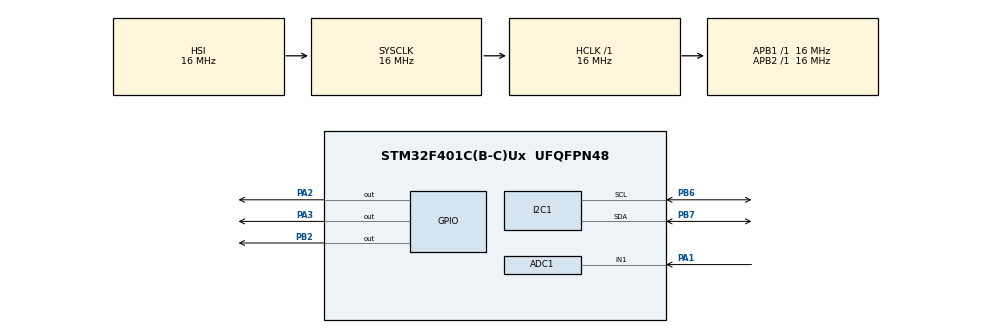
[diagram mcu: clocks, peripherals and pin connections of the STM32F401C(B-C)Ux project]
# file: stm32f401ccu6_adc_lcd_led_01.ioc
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ADC1.Channel-0\#ChannelRegularConversion=ADC_CHANNEL_1
ADC1.NbrOfConversionFlag=1
ADC1.Rank-0\#ChannelRegularConversion=1
ADC1.SamplingTime-0\#ChannelRegularConversion=ADC_SAMPLETIME_3CYCLES
ADC1.master=1
Mcu.Family=STM32F4
Mcu.Name=STM32F401C(B-C)Ux
Mcu.Package=UFQFPN48
NVIC.ADC_IRQn=true\:0\:0\:false\:false\:true\:true\:true\:true
NVIC.PriorityGroup=NVIC_PRIORITYGROUP_4
PA1.Signal=ADCx_IN1
PA13.Mode=Serial_Wire
PA13.Signal=SYS_JTMS-SWDIO
PA14.Mode=Serial_Wire
PA14.Signal=SYS_JTCK-SWCLK
PA2.Signal=GPIO_Output
PA3.Signal=GPIO_Output
PB2.Signal=GPIO_Output
PB6.Mode=I2C
PB6.Signal=I2C1_SCL
PB7.Mode=I2C
PB7.Signal=I2C1_SDA
ProjectManager.HeapSize=0x200
ProjectManager.StackSize=0x400
ProjectManager.TargetToolchain=STM32CubeIDE
RCC.AHBFreq_Value=16000000
RCC.APB1Freq_Value=16000000
RCC.APB2Freq_Value=16000000
RCC.CortexFreq_Value=16000000
RCC.HSE_VALUE=25000000
RCC.HSI_VALUE=16000000
RCC.LSE_VALUE=32768
RCC.SYSCLKFreq_VALUE=16000000
RCC.VCOOutputFreq_Value=192000000
SH.ADCx_IN1.0=ADC1_IN1,IN1
board=custom

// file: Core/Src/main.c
/* USER CODE BEGIN Header */
/**
  ******************************************************************************
  * @file           : main.c
  * @brief          : Main program body
  ******************************************************************************
  * @attention
  *
  * Copyright (c) 2024 STMicroelectronics.
  * All rights reserved.
  *
  * This software is licensed under terms that can be found in the LICENSE file
  * in the root directory of this software component.
  * If no LICENSE file comes with this software, it is provided AS-IS.
  *
  ******************************************************************************
  */
/* USER CODE END Header */
#include "main.h"

ADC_HandleTypeDef hadc1;

I2C_HandleTypeDef hi2c1;

void SystemClock_Config(void);
static void MX_GPIO_Init(void);
static void MX_ADC1_Init(void);
static void MX_I2C1_Init(void);

int main(void)
{
  /* USER CODE BEGIN 1 */
float u;
uint16_t i = 0;
char str[9];
  /* USER CODE END 1 */

  /* MCU Configuration--------------------------------------------------------*/

  /* Reset of all peripherals, Initializes the Flash interface and the Systick. */
  HAL_Init();

  /* Configure the system clock */
  SystemClock_Config();

  /* Initialize all configured peripherals */
  MX_GPIO_Init();
  MX_ADC1_Init();
  MX_I2C1_Init();
  /* USER CODE BEGIN 2 */
HAL_Delay(100);
lcd1602_Init();
lcd1602_Clean();
lcd1602_SetCursor(0, 0);
  /* USER CODE END 2 */

  /* Infinite loop */
  /* USER CODE BEGIN WHILE */
  while (1)
  {
	  HAL_ADC_Start(&hadc1);// запуск АЦП
	  HAL_ADC_PollForConversion(&hadc1, 100);// дожидаемся окончания преобразования HAL
	  //i = HAL_ADC_GetValue(&hadc1);// получаем значения преобразования HAL
	  i = ADC1 -> DR;// получаем значение преобразования с помощью чтения регистра
	  u = i*3.3/4096;// перевод преобразованного числа в напряжение
	  HAL_ADC_Stop(&hadc1);// окончание преобразование HAL
	  sprintf(str, "%f V   PA1", u);// преобразование строки в массив
	  lcd1602_Print_text(str);// вывод напряжения на дисплей
	  lcd1602_SetCursor(0, 1);// переход на вторую строку
	  lcd1602_Print_text("made for testing");// вывод строки на дисплей
	  HAL_Delay(50);// задержка 10 мс
	  lcd1602_Clean();// очистка дисплея
	  if (i>=2730){
		  GPIOA -> ODR |= (1<<2);
		  GPIOB -> ODR &= ~(1<<2);
		  GPIOA -> ODR &= ~(1<<3);

	  }
	  else if (i<2730&&i>=1365){
		  GPIOB -> ODR |= (1<<2);
		  GPIOA -> ODR &= ~(1<<2);
		  GPIOA -> ODR &= ~(1<<3);

	  }
	  else if (i<1365){
		  GPIOA -> ODR |= (1<<3);
		  GPIOA -> ODR &= ~(1<<2);
		  GPIOB -> ODR &= ~(1<<2);

	  }

    /* USER CODE END WHILE */

  }
}

void SystemClock_Config(void)
{
  RCC_OscInitTypeDef RCC_OscInitStruct = {0};
  RCC_ClkInitTypeDef RCC_ClkInitStruct = {0};

  /** Configure the main internal regulator output voltage
  */
  __HAL_RCC_PWR_CLK_ENABLE();
  __HAL_PWR_VOLTAGESCALING_CONFIG(PWR_REGULATOR_VOLTAGE_SCALE2);

  /** Initializes the RCC Oscillators according to the specified parameters
  * in the RCC_OscInitTypeDef structure.
  */
  RCC_OscInitStruct.OscillatorType = RCC_OSCILLATORTYPE_HSI;
  RCC_OscInitStruct.HSIState = RCC_HSI_ON;
  RCC_OscInitStruct.HSICalibrationValue = RCC_HSICALIBRATION_DEFAULT;
  RCC_OscInitStruct.PLL.PLLState = RCC_PLL_NONE;
  if (HAL_RCC_OscConfig(&RCC_OscInitStruct) != HAL_OK)
  {
    Error_Handler();
  }

  /** Initializes the CPU, AHB and APB buses clocks
  */
  RCC_ClkInitStruct.ClockType = RCC_CLOCKTYPE_HCLK|RCC_CLOCKTYPE_SYSCLK
                              |RCC_CLOCKTYPE_PCLK1|RCC_CLOCKTYPE_PCLK2;
  RCC_ClkInitStruct.SYSCLKSource = RCC_SYSCLKSOURCE_HSI;
  RCC_ClkInitStruct.AHBCLKDivider = RCC_SYSCLK_DIV1;
  RCC_ClkInitStruct.APB1CLKDivider = RCC_HCLK_DIV1;
  RCC_ClkInitStruct.APB2CLKDivider = RCC_HCLK_DIV1;

  if (HAL_RCC_ClockConfig(&RCC_ClkInitStruct, FLASH_LATENCY_0) != HAL_OK)
  {
    Error_Handler();
  }
}

static void MX_ADC1_Init(void)
{

  ADC_ChannelConfTypeDef sConfig = {0};

  /** Configure the global features of the ADC (Clock, Resolution, Data Alignment and number of conversion)
  */
  hadc1.Instance = ADC1;
  hadc1.Init.ClockPrescaler = ADC_CLOCK_SYNC_PCLK_DIV2;
  hadc1.Init.Resolution = ADC_RESOLUTION_12B;
  hadc1.Init.ScanConvMode = DISABLE;
  hadc1.Init.ContinuousConvMode = DISABLE;
  hadc1.Init.DiscontinuousConvMode = DISABLE;
  hadc1.Init.ExternalTrigConvEdge = ADC_EXTERNALTRIGCONVEDGE_NONE;
  hadc1.Init.ExternalTrigConv = ADC_SOFTWARE_START;
  hadc1.Init.DataAlign = ADC_DATAALIGN_RIGHT;
  hadc1.Init.NbrOfConversion = 1;
  hadc1.Init.DMAContinuousRequests = DISABLE;
  hadc1.Init.EOCSelection = ADC_EOC_SINGLE_CONV;
  if (HAL_ADC_Init(&hadc1) != HAL_OK)
  {
    Error_Handler();
  }

  /** Configure for the selected ADC regular channel its corresponding rank in the sequencer and its sample time.
  */
  sConfig.Channel = ADC_CHANNEL_1;
  sConfig.Rank = 1;
  sConfig.SamplingTime = ADC_SAMPLETIME_3CYCLES;
  if (HAL_ADC_ConfigChannel(&hadc1, &sConfig) != HAL_OK)
  {
    Error_Handler();
  }

}

static void MX_I2C1_Init(void)
{

  hi2c1.Instance = I2C1;
  hi2c1.Init.ClockSpeed = 100000;
  hi2c1.Init.DutyCycle = I2C_DUTYCYCLE_2;
  hi2c1.Init.OwnAddress1 = 0;
  hi2c1.Init.AddressingMode = I2C_ADDRESSINGMODE_7BIT;
  hi2c1.Init.DualAddressMode = I2C_DUALADDRESS_DISABLE;
  hi2c1.Init.OwnAddress2 = 0;
  hi2c1.Init.GeneralCallMode = I2C_GENERALCALL_DISABLE;
  hi2c1.Init.NoStretchMode = I2C_NOSTRETCH_DISABLE;
  if (HAL_I2C_Init(&hi2c1) != HAL_OK)
  {
    Error_Handler();
  }

}

static void MX_GPIO_Init(void)
{
  GPIO_InitTypeDef GPIO_InitStruct = {0};

  /* GPIO Ports Clock Enable */
  __HAL_RCC_GPIOA_CLK_ENABLE();
  __HAL_RCC_GPIOB_CLK_ENABLE();

  /*Configure GPIO pin Output Level */
  HAL_GPIO_WritePin(GPIOA, GPIO_PIN_2|GPIO_PIN_3, GPIO_PIN_RESET);

  /*Configure GPIO pin Output Level */
  HAL_GPIO_WritePin(GPIOB, GPIO_PIN_2, GPIO_PIN_RESET);

  /*Configure GPIO pins : PA2 PA3 */
  GPIO_InitStruct.Pin = GPIO_PIN_2|GPIO_PIN_3;
  GPIO_InitStruct.Mode = GPIO_MODE_OUTPUT_PP;
  GPIO_InitStruct.Pull = GPIO_NOPULL;
  GPIO_InitStruct.Speed = GPIO_SPEED_FREQ_LOW;
  HAL_GPIO_Init(GPIOA, &GPIO_InitStruct);

  /*Configure GPIO pin : PB2 */
  GPIO_InitStruct.Pin = GPIO_PIN_2;
  GPIO_InitStruct.Mode = GPIO_MODE_OUTPUT_PP;
  GPIO_InitStruct.Pull = GPIO_NOPULL;
  GPIO_InitStruct.Speed = GPIO_SPEED_FREQ_LOW;
  HAL_GPIO_Init(GPIOB, &GPIO_InitStruct);

}

void Error_Handler(void)
{
  __disable_irq();
  while (1)
  {
  }
}
